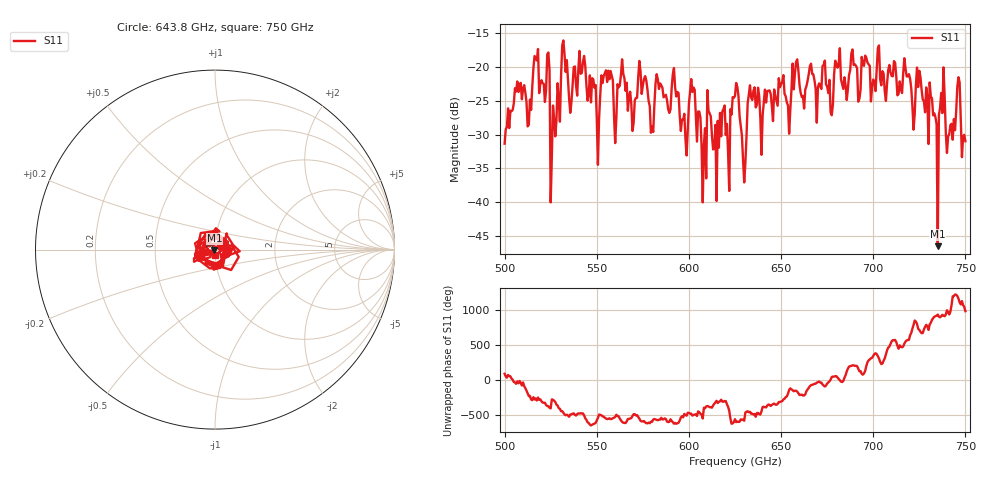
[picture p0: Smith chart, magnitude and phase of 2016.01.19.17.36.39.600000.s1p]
!Created with skrf (http://scikit-rf.org).
# GHz S RI R 50.0
!freq ReS11 ImS11
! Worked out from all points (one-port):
!   401 points, 500 GHz to 750 GHz, reference 50 ohm
!   lowest |S11| = -46.6 dB at 735 GHz (marker M1), VSWR 1.01, Z = 49.6 - j0.303 ohm
!   |S11| at or under -10 dB: start of sweep to end of sweep
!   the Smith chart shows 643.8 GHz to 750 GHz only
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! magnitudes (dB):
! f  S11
! 500 GHz  -31.4
! 506.9 GHz  -22.1
! 513.1 GHz  -28.5
! 516.9 GHz  -18.7
! 523.1 GHz  -18.1
! 526.2 GHz  -25.7
! 531.2 GHz  -16.8
! 541.9 GHz  -20.9
! 550.6 GHz  -34.5
! 562.5 GHz  -22.7
! 580 GHz  -28.8
! 583.1 GHz  -21.8
! 593.8 GHz  -23.7
! 598.1 GHz  -30.7
! 601.9 GHz  -23.7
! 608.1 GHz  -31.6
! 611.2 GHz  -26.9
! 613.8 GHz  -32.1
! 621.2 GHz  -32.7
! 625 GHz  -24.3
! 630 GHz  -37.1
! 633.8 GHz  -24.5
! 656.2 GHz  -19.5
! 687.5 GHz  -20.5
! 718.8 GHz  -21.4
! 735 GHz  -46.6
! 737.5 GHz  -26.8
! 750 GHz  -31.0
